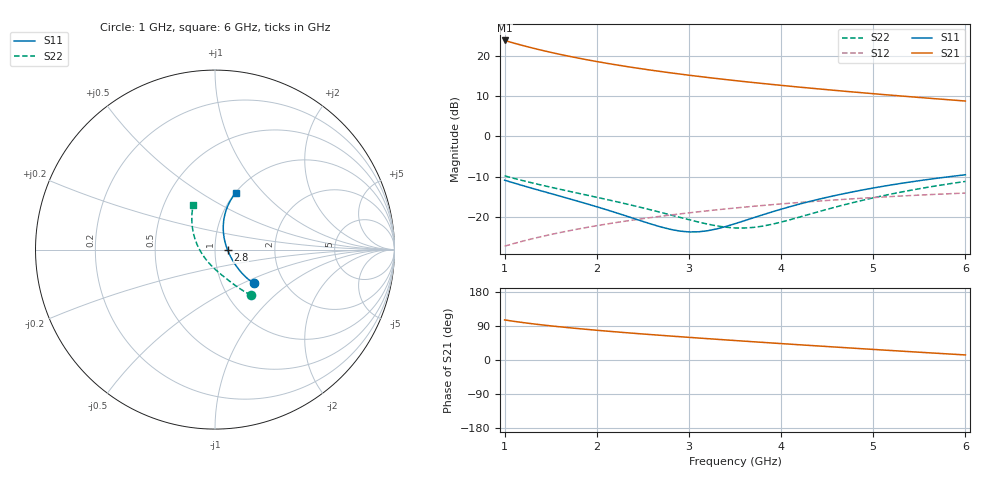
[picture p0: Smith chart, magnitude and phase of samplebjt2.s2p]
# GHz S MA R 50
! S-Parameters data
! FREQ  magS11  angS11  magS21  angS21  magS12  angS12  magS22  angS22
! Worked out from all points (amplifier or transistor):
!   51 points, 1 GHz to 6 GHz, reference 50 ohm
!   highest |S21| = 23.8 dB at 1 GHz (marker M1)
!   |S21| within 3 dB of that: start of sweep to 1.512 GHz
!   unconditionally stable (mu >= 1): 1.18 GHz to end of sweep
!   at 1.8 GHz: K = 1.05, MAG = 19.7 dB, |S12| = -22.9 dB
!   at 3.5 GHz: K = 1.10, MAG = 13.8 dB, |S12| = -17.8 dB
!   at 6 GHz: K = 1.12, MAG = 9.3 dB, |S12| = -14.0 dB
!   S11 on the Smith chart (normalised r, x): 1 GHz: 1.41, -0.58; 2.8 GHz: 1.15, -0.01; 6 GHz: 1.01, +0.71
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1  0.2866 -41.0  15.4 105.7  0.04364 55.3  0.3242 -51.5
1.1  0.2646 -41.5  14.29 102.1  0.04705 55.3  0.3022 -53.4
1.2  0.2449 -41.7  13.3 98.7  0.05047 55.2  0.2825 -55.2
1.3  0.2271 -41.7  12.44 95.7  0.0539 55.0  0.2649 -56.8
1.4  0.2108 -41.5  11.67 92.8  0.05735 54.6  0.249 -58.3
1.5  0.1958 -41.0  10.98 90.1  0.06082 54.2  0.2345 -59.9
1.6  0.1819 -40.4  10.36 87.6  0.06429 53.7  0.2212 -61.4
1.7  0.1689 -39.5  9.81 85.2  0.06777 53.1  0.2088 -63.0
1.9  0.1452 -37.1  8.857 80.6  0.07475 51.7  0.1862 -66.4
2.1  0.1239 -33.5  8.065 76.4  0.08174 50.2  0.166 -70.3
2.3  0.1049 -28.2  7.399 72.5  0.08871 48.4  0.1473 -74.8
2.5  0.08838 -20.5  6.831 68.7  0.09567 46.5  0.13 -80.4
2.7  0.07526 -9.4  6.34 65.0  0.1026 44.5  0.1139 -87.3
2.8  0.07045 -2.3  6.12 63.3  0.106 43.5  0.1065 -91.4
3.1  0.06567 23.1  5.538 58.1  0.1162 40.3  0.08705 -107.4
3.5  0.08277 52.0  4.906 51.4  0.1296 35.8  0.07335 -138.6
3.9  0.1157 66.4  4.395 44.9  0.1424 31.0  0.08138 -173.4
4.4  0.1655 73.1  3.876 37.1  0.1577 25.0  0.1161 156.8
4.8  0.2078 74.3  3.53 30.9  0.1691 20.0  0.1531 142.1
5.2  0.2506 73.8  3.231 24.9  0.1797 15.0  0.1935 131.5
5.6  0.293 72.2  2.969 19.1  0.1895 10.0  0.235 123.1
6  0.3342 70.0  2.737 13.3  0.1984 5.1  0.2763 116.0
